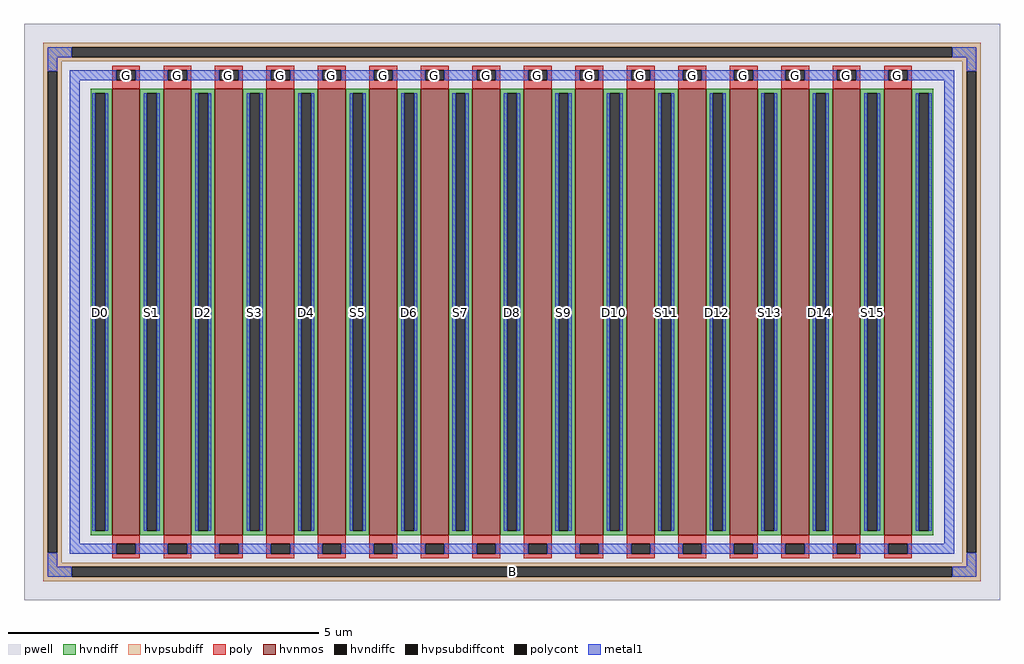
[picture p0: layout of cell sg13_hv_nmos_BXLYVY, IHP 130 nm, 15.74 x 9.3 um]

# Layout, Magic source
magic
tech ihp-sg13cmos5l
magscale 1 2
<< pwell >>
rect -1574 -930 1574 930
<< hvnmos >>
rect -1290 -720 -1200 720
rect -1124 -720 -1034 720
rect -958 -720 -868 720
rect -792 -720 -702 720
rect -626 -720 -536 720
rect -460 -720 -370 720
rect -294 -720 -204 720
rect -128 -720 -38 720
rect 38 -720 128 720
rect 204 -720 294 720
rect 370 -720 460 720
rect 536 -720 626 720
rect 702 -720 792 720
rect 868 -720 958 720
rect 1034 -720 1124 720
rect 1200 -720 1290 720
<< hvndiff >>
rect -1358 706 -1290 720
rect -1358 -706 -1344 706
rect -1312 -706 -1290 706
rect -1358 -720 -1290 -706
rect -1200 706 -1124 720
rect -1200 -706 -1178 706
rect -1146 -706 -1124 706
rect -1200 -720 -1124 -706
rect -1034 706 -958 720
rect -1034 -706 -1012 706
rect -980 -706 -958 706
rect -1034 -720 -958 -706
rect -868 706 -792 720
rect -868 -706 -846 706
rect -814 -706 -792 706
rect -868 -720 -792 -706
rect -702 706 -626 720
rect -702 -706 -680 706
rect -648 -706 -626 706
rect -702 -720 -626 -706
rect -536 706 -460 720
rect -536 -706 -514 706
rect -482 -706 -460 706
rect -536 -720 -460 -706
rect -370 706 -294 720
rect -370 -706 -348 706
rect -316 -706 -294 706
rect -370 -720 -294 -706
rect -204 706 -128 720
rect -204 -706 -182 706
rect -150 -706 -128 706
rect -204 -720 -128 -706
rect -38 706 38 720
rect -38 -706 -16 706
rect 16 -706 38 706
rect -38 -720 38 -706
rect 128 706 204 720
rect 128 -706 150 706
rect 182 -706 204 706
rect 128 -720 204 -706
rect 294 706 370 720
rect 294 -706 316 706
rect 348 -706 370 706
rect 294 -720 370 -706
rect 460 706 536 720
rect 460 -706 482 706
rect 514 -706 536 706
rect 460 -720 536 -706
rect 626 706 702 720
rect 626 -706 648 706
rect 680 -706 702 706
rect 626 -720 702 -706
rect 792 706 868 720
rect 792 -706 814 706
rect 846 -706 868 706
rect 792 -720 868 -706
rect 958 706 1034 720
rect 958 -706 980 706
rect 1012 -706 1034 706
rect 958 -720 1034 -706
rect 1124 706 1200 720
rect 1124 -706 1146 706
rect 1178 -706 1200 706
rect 1124 -720 1200 -706
rect 1290 706 1358 720
rect 1290 -706 1312 706
rect 1344 -706 1358 706
rect 1290 -720 1358 -706
<< hvndiffc >>
rect -1344 -706 -1312 706
rect -1178 -706 -1146 706
rect -1012 -706 -980 706
rect -846 -706 -814 706
rect -680 -706 -648 706
rect -514 -706 -482 706
rect -348 -706 -316 706
rect -182 -706 -150 706
rect -16 -706 16 706
rect 150 -706 182 706
rect 316 -706 348 706
rect 482 -706 514 706
rect 648 -706 680 706
rect 814 -706 846 706
rect 980 -706 1012 706
rect 1146 -706 1178 706
rect 1312 -706 1344 706
<< hvpsubdiff >>
rect -1512 854 1512 868
rect -1512 822 -1420 854
rect 1420 822 1512 854
rect -1512 808 1512 822
rect -1512 776 -1452 808
rect -1512 -776 -1498 776
rect -1466 -776 -1452 776
rect 1452 776 1512 808
rect -1512 -808 -1452 -776
rect 1452 -776 1466 776
rect 1498 -776 1512 776
rect 1452 -808 1512 -776
rect -1512 -822 1512 -808
rect -1512 -854 -1420 -822
rect 1420 -854 1512 -822
rect -1512 -868 1512 -854
<< hvpsubdiffcont >>
rect -1420 822 1420 854
rect -1498 -776 -1466 776
rect 1466 -776 1498 776
rect -1420 -854 1420 -822
<< poly >>
rect -1290 780 -1200 794
rect -1290 748 -1276 780
rect -1214 748 -1200 780
rect -1290 720 -1200 748
rect -1124 780 -1034 794
rect -1124 748 -1110 780
rect -1048 748 -1034 780
rect -1124 720 -1034 748
rect -958 780 -868 794
rect -958 748 -944 780
rect -882 748 -868 780
rect -958 720 -868 748
rect -792 780 -702 794
rect -792 748 -778 780
rect -716 748 -702 780
rect -792 720 -702 748
rect -626 780 -536 794
rect -626 748 -612 780
rect -550 748 -536 780
rect -626 720 -536 748
rect -460 780 -370 794
rect -460 748 -446 780
rect -384 748 -370 780
rect -460 720 -370 748
rect -294 780 -204 794
rect -294 748 -280 780
rect -218 748 -204 780
rect -294 720 -204 748
rect -128 780 -38 794
rect -128 748 -114 780
rect -52 748 -38 780
rect -128 720 -38 748
rect 38 780 128 794
rect 38 748 52 780
rect 114 748 128 780
rect 38 720 128 748
rect 204 780 294 794
rect 204 748 218 780
rect 280 748 294 780
rect 204 720 294 748
rect 370 780 460 794
rect 370 748 384 780
rect 446 748 460 780
rect 370 720 460 748
rect 536 780 626 794
rect 536 748 550 780
rect 612 748 626 780
rect 536 720 626 748
rect 702 780 792 794
rect 702 748 716 780
rect 778 748 792 780
rect 702 720 792 748
rect 868 780 958 794
rect 868 748 882 780
rect 944 748 958 780
rect 868 720 958 748
rect 1034 780 1124 794
rect 1034 748 1048 780
rect 1110 748 1124 780
rect 1034 720 1124 748
rect 1200 780 1290 794
rect 1200 748 1214 780
rect 1276 748 1290 780
rect 1200 720 1290 748
rect -1290 -748 -1200 -720
rect -1290 -780 -1276 -748
rect -1214 -780 -1200 -748
rect -1290 -794 -1200 -780
rect -1124 -748 -1034 -720
rect -1124 -780 -1110 -748
rect -1048 -780 -1034 -748
rect -1124 -794 -1034 -780
rect -958 -748 -868 -720
rect -958 -780 -944 -748
rect -882 -780 -868 -748
rect -958 -794 -868 -780
rect -792 -748 -702 -720
rect -792 -780 -778 -748
rect -716 -780 -702 -748
rect -792 -794 -702 -780
rect -626 -748 -536 -720
rect -626 -780 -612 -748
rect -550 -780 -536 -748
rect -626 -794 -536 -780
rect -460 -748 -370 -720
rect -460 -780 -446 -748
rect -384 -780 -370 -748
rect -460 -794 -370 -780
rect -294 -748 -204 -720
rect -294 -780 -280 -748
rect -218 -780 -204 -748
rect -294 -794 -204 -780
rect -128 -748 -38 -720
rect -128 -780 -114 -748
rect -52 -780 -38 -748
rect -128 -794 -38 -780
rect 38 -748 128 -720
rect 38 -780 52 -748
rect 114 -780 128 -748
rect 38 -794 128 -780
rect 204 -748 294 -720
rect 204 -780 218 -748
rect 280 -780 294 -748
rect 204 -794 294 -780
rect 370 -748 460 -720
rect 370 -780 384 -748
rect 446 -780 460 -748
rect 370 -794 460 -780
rect 536 -748 626 -720
rect 536 -780 550 -748
rect 612 -780 626 -748
rect 536 -794 626 -780
rect 702 -748 792 -720
rect 702 -780 716 -748
rect 778 -780 792 -748
rect 702 -794 792 -780
rect 868 -748 958 -720
rect 868 -780 882 -748
rect 944 -780 958 -748
rect 868 -794 958 -780
rect 1034 -748 1124 -720
rect 1034 -780 1048 -748
rect 1110 -780 1124 -748
rect 1034 -794 1124 -780
rect 1200 -748 1290 -720
rect 1200 -780 1214 -748
rect 1276 -780 1290 -748
rect 1200 -794 1290 -780
<< polycont >>
rect -1276 748 -1214 780
rect -1110 748 -1048 780
rect -944 748 -882 780
rect -778 748 -716 780
rect -612 748 -550 780
rect -446 748 -384 780
rect -280 748 -218 780
rect -114 748 -52 780
rect 52 748 114 780
rect 218 748 280 780
rect 384 748 446 780
rect 550 748 612 780
rect 716 748 778 780
rect 882 748 944 780
rect 1048 748 1110 780
rect 1214 748 1276 780
rect -1276 -780 -1214 -748
rect -1110 -780 -1048 -748
rect -944 -780 -882 -748
rect -778 -780 -716 -748
rect -612 -780 -550 -748
rect -446 -780 -384 -748
rect -280 -780 -218 -748
rect -114 -780 -52 -748
rect 52 -780 114 -748
rect 218 -780 280 -748
rect 384 -780 446 -748
rect 550 -780 612 -748
rect 716 -780 778 -748
rect 882 -780 944 -748
rect 1048 -780 1110 -748
rect 1214 -780 1276 -748
<< metal1 >>
rect -1498 822 -1420 854
rect 1420 822 1498 854
rect -1498 776 -1466 822
rect -1498 -822 -1466 -776
rect -1426 748 -1276 780
rect -1214 748 -1110 780
rect -1048 748 -944 780
rect -882 748 -778 780
rect -716 748 -612 780
rect -550 748 -446 780
rect -384 748 -280 780
rect -218 748 -114 780
rect -52 748 52 780
rect 114 748 218 780
rect 280 748 384 780
rect 446 748 550 780
rect 612 748 716 780
rect 778 748 882 780
rect 944 748 1048 780
rect 1110 748 1214 780
rect 1276 748 1426 780
rect -1426 -748 -1394 748
rect -1354 -706 -1344 706
rect -1312 -706 -1302 706
rect -1188 -706 -1178 706
rect -1146 -706 -1136 706
rect -1022 -706 -1012 706
rect -980 -706 -970 706
rect -856 -706 -846 706
rect -814 -706 -804 706
rect -690 -706 -680 706
rect -648 -706 -638 706
rect -524 -706 -514 706
rect -482 -706 -472 706
rect -358 -706 -348 706
rect -316 -706 -306 706
rect -192 -706 -182 706
rect -150 -706 -140 706
rect -26 -706 -16 706
rect 16 -706 26 706
rect 140 -706 150 706
rect 182 -706 192 706
rect 306 -706 316 706
rect 348 -706 358 706
rect 472 -706 482 706
rect 514 -706 524 706
rect 638 -706 648 706
rect 680 -706 690 706
rect 804 -706 814 706
rect 846 -706 856 706
rect 970 -706 980 706
rect 1012 -706 1022 706
rect 1136 -706 1146 706
rect 1178 -706 1188 706
rect 1302 -706 1312 706
rect 1344 -706 1354 706
rect 1394 -748 1426 748
rect -1426 -780 -1276 -748
rect -1214 -780 -1110 -748
rect -1048 -780 -944 -748
rect -882 -780 -778 -748
rect -716 -780 -612 -748
rect -550 -780 -446 -748
rect -384 -780 -280 -748
rect -218 -780 -114 -748
rect -52 -780 52 -748
rect 114 -780 218 -748
rect 280 -780 384 -748
rect 446 -780 550 -748
rect 612 -780 716 -748
rect 778 -780 882 -748
rect 944 -780 1048 -748
rect 1110 -780 1214 -748
rect 1276 -780 1426 -748
rect 1466 776 1498 822
rect 1466 -822 1498 -776
rect -1498 -854 -1420 -822
rect 1420 -854 1498 -822
<< labels >>
rlabel hvpsubdiffcont 0 -838 0 -838 0 B
port 1 nsew
rlabel hvndiffc -1328 0 -1328 0 0 D0
port 2 nsew
rlabel polycont -1245 764 -1245 764 0 G
port 3 nsew
rlabel hvndiffc -1162 0 -1162 0 0 S1
port 4 nsew
rlabel polycont -1079 764 -1079 764 0 G
port 3 nsew
rlabel hvndiffc -996 0 -996 0 0 D2
port 5 nsew
rlabel polycont -913 764 -913 764 0 G
port 3 nsew
rlabel hvndiffc -830 0 -830 0 0 S3
port 6 nsew
rlabel polycont -747 764 -747 764 0 G
port 3 nsew
rlabel hvndiffc -664 0 -664 0 0 D4
port 7 nsew
rlabel polycont -581 764 -581 764 0 G
port 3 nsew
rlabel hvndiffc -498 0 -498 0 0 S5
port 8 nsew
rlabel polycont -415 764 -415 764 0 G
port 3 nsew
rlabel hvndiffc -332 0 -332 0 0 D6
port 9 nsew
rlabel polycont -249 764 -249 764 0 G
port 3 nsew
rlabel hvndiffc -166 0 -166 0 0 S7
port 10 nsew
rlabel polycont -83 764 -83 764 0 G
port 3 nsew
rlabel hvndiffc 0 0 0 0 0 D8
port 11 nsew
rlabel polycont 83 764 83 764 0 G
port 3 nsew
rlabel hvndiffc 166 0 166 0 0 S9
port 12 nsew
rlabel polycont 249 764 249 764 0 G
port 3 nsew
rlabel hvndiffc 332 0 332 0 0 D10
port 13 nsew
rlabel polycont 415 764 415 764 0 G
port 3 nsew
rlabel hvndiffc 498 0 498 0 0 S11
port 14 nsew
rlabel polycont 581 764 581 764 0 G
port 3 nsew
rlabel hvndiffc 664 0 664 0 0 D12
port 15 nsew
rlabel polycont 747 764 747 764 0 G
port 3 nsew
rlabel hvndiffc 830 0 830 0 0 S13
port 16 nsew
rlabel polycont 913 764 913 764 0 G
port 3 nsew
rlabel hvndiffc 996 0 996 0 0 D14
port 17 nsew
rlabel polycont 1079 764 1079 764 0 G
port 3 nsew
rlabel hvndiffc 1162 0 1162 0 0 S15
port 18 nsew
rlabel polycont 1245 764 1245 764 0 G
port 3 nsew
<< properties >>
string FIXED_BBOX -1482 -838 1482 838
string gencell sg13_hv_nmos
string library sg13cmos5l
string parameters w 7.2 l 0.45 m 1 ng 16 diffcov 100 polycov 100 guard 1 glc 1 grc 1 gtc 1 gbc 1 tbcov 100 rlcov 100 topc 1 botc 1 poverlap 0 doverlap 1 lmin 0.45 wmin 0.15 class mosfet compatible {sg13_lv_nmos sg13_hv_nmos} full_metal 1 conn_gates 1 gate_ring 1 doports 1 viasrc 0 viadrn 0 viagate 0 ccols 1 viagb 0 viagr 0 viagl 0 viagt 0
<< end >>
